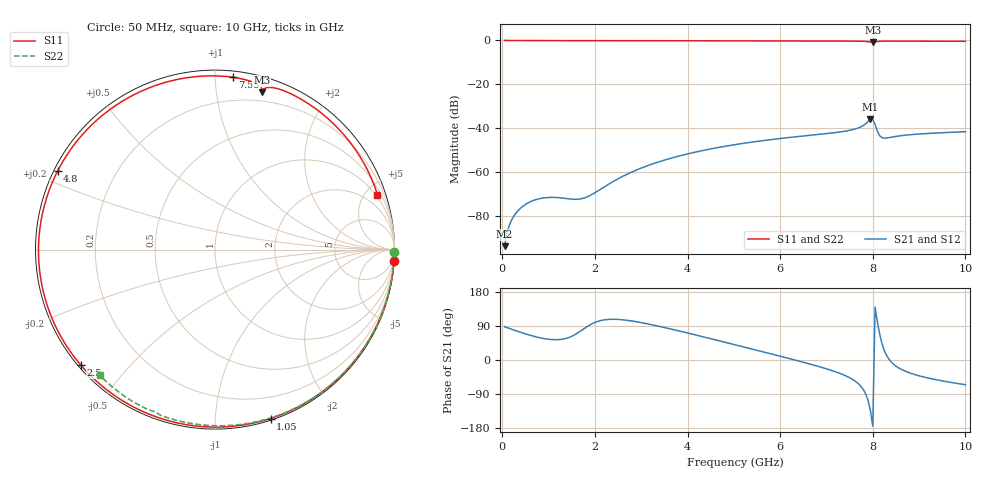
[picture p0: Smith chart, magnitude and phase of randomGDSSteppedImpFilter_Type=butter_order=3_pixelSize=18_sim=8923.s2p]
! freq	dB(S11)	phase(S11)	dB(S12)	phase(S12)
!  dB(S21)	phase(S21)	dB(S22)	phase(S22)
!S-par simulation data
#  GHz  S  DB  R 50
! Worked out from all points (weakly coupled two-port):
!   200 points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, 50 MHz to 10 GHz, reference 50 ohm
!   highest |S21| = -36.04 dB at 7.95 GHz (marker M1); lowest = -94.0 dB at 50 MHz (marker M2)
!   lowest |S11| = -0.8 dB at 8 GHz (marker M3), VSWR 22.13, Z = 6.3 + j66.6 ohm
!   |S11| at or under -10 dB: nowhere
!   |S22| runs from -0.5 to 0.0 dB; largest |S21 - S12| = 0
!   S11 on the Smith chart (normalised r, x): 50 MHz: 0, -31; 1.05 GHz: 0.01, -1.38; 2.5 GHz: 0.01, -0.37; 4.8 GHz: 0.01, +0.24; 7.55 GHz: 0.04, +1.11; 10 GHz: 0.84, +5.95
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0.05  -0.00 -3.7  -94.01 87.8  -94.01 87.8  -0.00 -0.8
0.25  -0.03 -18.4  -80.25 79.1  -80.25 79.1  -0.01 -3.8
0.4  -0.04 -29.1  -76.53 72.9  -76.53 72.9  -0.01 -6.1
0.6  -0.06 -43.0  -73.76 65.3  -73.76 65.3  -0.01 -9.2
1.05  -0.08 -71.8  -71.71 54.1  -71.71 54.1  -0.02 -16.0
1.4  -0.10 -91.4  -72.30 57.9  -72.30 57.9  -0.03 -21.2
1.75  -0.11 -108.7  -72.11 81.5  -72.11 81.5  -0.03 -26.5
2.5  -0.12 -139.3  -63.20 107.1  -63.20 107.1  -0.05 -37.5
3.4  -0.13 -168.7  -55.34 88.5  -55.34 88.5  -0.07 -50.4
4.05  -0.15 173.1  -51.60 69.8  -51.60 69.8  -0.08 -59.4
4.8  -0.17 153.5  -48.40 47.1  -48.40 47.1  -0.10 -69.6
5.05  -0.18 147.2  -47.52 39.4  -47.52 39.4  -0.11 -72.9
5.9  -0.21 126.1  -45.06 13.1  -45.06 13.1  -0.14 -83.9
6.7  -0.25 106.1  -43.22 -12.6  -43.22 -12.6  -0.18 -93.9
7.55  -0.31 84.1  -40.85 -50.2  -40.85 -50.2  -0.23 -104.3
7.75  -0.36 78.5  -39.40 -70.4  -39.40 -70.4  -0.24 -106.8
7.95  -0.69 73.2  -36.04 -134.0  -36.04 -134.0  -0.29 -109.4
8  -0.79 73.4  -36.12 -174.5  -36.12 -174.5  -0.33 -109.8
8.15  -0.37 70.5  -43.57 67.6  -43.57 67.6  -0.31 -111.2
8.35  -0.31 64.4  -44.40 2.2  -44.40 2.2  -0.30 -113.6
9.2  -0.34 40.9  -42.49 -47.7  -42.49 -47.7  -0.37 -123.5
10  -0.40 18.7  -41.69 -65.3  -41.69 -65.3  -0.45 -132.6
